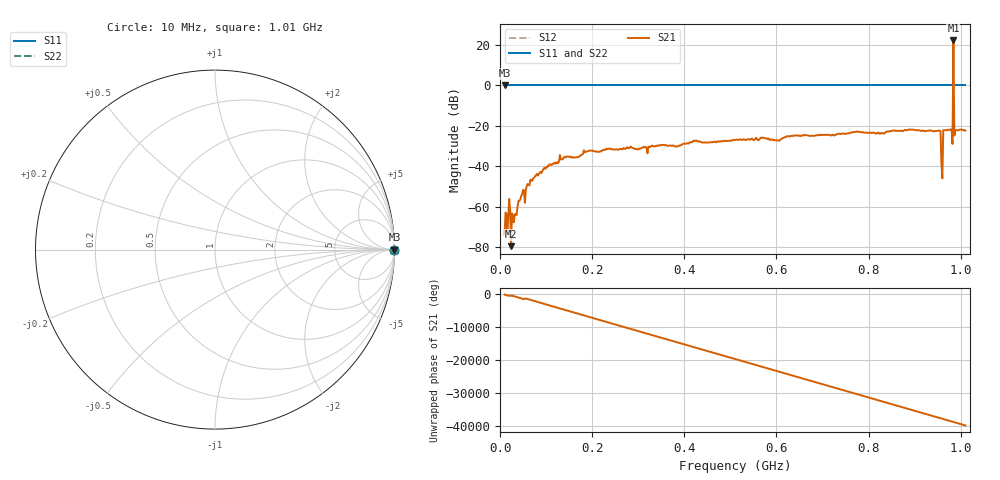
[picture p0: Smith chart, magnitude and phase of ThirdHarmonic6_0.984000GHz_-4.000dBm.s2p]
! 8/16/2025 7:40:20 AM
! C:\ANRITSUVNA\TEMP\TEMP.S2P
! CHANNEL.1
! TR.MEASUREMENT
! RAW.DATA
! RF.CORRECTION.OFF
! AVERAGING.OFF
! IF.BANDWIDTH: 5KHZ
! SWEEPTYPE:  FREQ.SWEEP(Linear)
! Reference Plane Port Info
! PORT:  PORT1  PORT2
! DISTANCE:  0  m  0  m
! TIME:  0  s  0  s
! PHASE.OFFSET:  0  deg.  0  deg.
! LOSS:  0  dB  0  dB
! REF.LOSS:  0  dB  0  dB
! REF.FREQ:  0  Hz  0  Hz
! Power Info
! POWER:  -20  dBm  -20  dBm
! EFF.POWER:  -20  dBm  -20  dBm
! SOURCE.ATTEN:  0  dB  0  dB
! TEST.ATTEN:  0  dB  0  dB
# GHZ S RI R 50.0
! FREQ.GHZ  S11RE  S11IM  S21RE  S21IM  S12RE  S12IM  S22RE  S22IM
!; PortSelection: Port_12
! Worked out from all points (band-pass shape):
!   501 points, 10 MHz to 1.01 GHz, reference 50 ohm
!   highest |S21| = 22.10 dB at 984 MHz (marker M1); lowest = -79.6 dB at 24 MHz (marker M2)
!   |S21| within 3 dB of the highest: 983.8827 MHz to 984.1275 MHz (244.8 kHz wide, 0.0249 % of centre)
!   lowest |S11| = 0.0 dB at 10 MHz (marker M3)
!   |S11| at or under -10 dB: nowhere
!   |S22| runs from 0.0 to 0.0 dB; largest |S21 - S12| = 13
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0.01  1 0  -0.000155 -0.000132  1 0  1 0
0.016  1 0  1.7e-06 -0.000227  1 0  1 0
0.024  1 0  -3.27e-05 -9.95e-05  1 0  1 0
0.028  1 0  -0.000529 -0.000272  1 0  1 0
0.048  1 0  0.00062 0.00191  1 0  1 0
0.076  1 0  0.00405 0.0038  1 0  1 0
0.134  1 0  -0.0145 0.00241  1 0  1 0
0.178  1 0  -0.0184 -0.00527  1 0  1 0
0.344  1 0  0.0314 -0.00473  1 0  1 0
0.51  1 0  -0.0427 0.0114  1 0  1 0
0.678  1 0  -0.0181 -0.0529  1 0  1 0
0.844  1 0  0.0386 0.06  1 0  1 0
0.952  1 0  0.0679 0.0325  1 0  1 0
0.956  1 0  -0.0519 -0.0529  1 0  1 0
0.962  1 0  0.0736 -0.0245  1 0  1 0
0.966  1 0  -0.0771 -0.00293  1 0  1 0
0.978  1 0  0.0398 0.0685  1 0  1 0
0.98  1 0  0.0741 -0.0302  1 0  1 0
0.984  1 0  -3.833 -12.14  1 0  1 0
0.988  1 0  0.0742 0.0215  1 0  1 0
0.99  1 0  0.033 -0.0703  1 0  1 0
1.01  1 0  -0.0671 -0.0335  1 0  1 0
